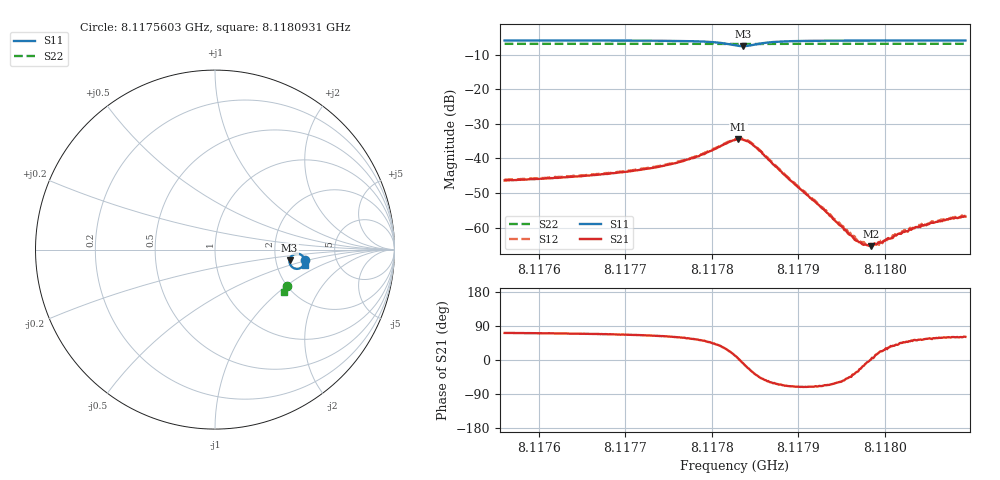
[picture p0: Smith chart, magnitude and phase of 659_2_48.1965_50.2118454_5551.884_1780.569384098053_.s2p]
#  HZ  S  RI  R  50.00
! Rohde & Schwarz Vector Network Analyzer
! Rohde-Schwarz,ZNB20-2Port,1311601062101988,3.16
! Created: UTC 3/20/2024, 12:05:39 PM
! freq[Hz]  re:S11  im:S11  re:S21  im:S21  re:S12  im:S12  re:S22  im:S22
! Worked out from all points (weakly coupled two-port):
!   401 points, 8.1175603 GHz to 8.1180931 GHz, reference 50 ohm
!   highest |S21| = -34.42 dB at 8.1178307 GHz (marker M1); lowest = -65.3 dB at 8.1179839 GHz (marker M2)
!   lowest |S11| = -7.5 dB at 8.117836 GHz (marker M3), VSWR 2.44, Z = 119 - j17 ohm
!   |S11| at or under -10 dB: nowhere
!   |S22| runs from -6.9 to -6.9 dB; largest |S21 - S12| = 0.00072
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8.11756026e9  0.5032 -0.0598  0.00153 0.00456  0.00157 0.00464  0.4037 -0.2053
8.11764952e9  0.5009 -0.0702  0.00197 0.00518  0.00205 0.00536  0.4008 -0.2112
8.11769614e9  0.4988 -0.0768  0.00245 0.00582  0.0025 0.00594  0.3993 -0.2141
8.11773877e9  0.4947 -0.0854  0.00341 0.00681  0.00346 0.00694  0.3977 -0.2169
8.1177814e9  0.483 -0.0987  0.00612 0.00849  0.00627 0.00867  0.3958 -0.2198
8.11781204e9  0.451 -0.1068  0.0129 0.00866  0.0132 0.00881  0.3935 -0.2217
8.1178267e9  0.422 -0.0883  0.0181 0.00376  0.0185 0.0039  0.3921 -0.2214
8.11783069e9  0.4164 -0.0768  0.019 0.00107  0.0194 0.00121  0.3919 -0.2212
8.11783602e9  0.4153 -0.0586  0.0185 -0.00276  0.019 -0.00275  0.3919 -0.2206
8.11784401e9  0.4275 -0.0347  0.0152 -0.00743  0.0157 -0.00769  0.3924 -0.2204
8.11785467e9  0.4538 -0.0227  0.00921 -0.00923  0.00963 -0.00948  0.3934 -0.2207
8.11788398e9  0.4899 -0.0377  0.00219 -0.00532  0.00229 -0.00548  0.3939 -0.2234
8.11791595e9  0.4981 -0.0529  0.00085 -0.00239  0.000886 -0.00248  0.393 -0.2261
8.11796924e9  0.5006 -0.0665  0.00055 -0.000313  0.000546 -0.000339  0.3912 -0.2299
8.1179799e9  0.5007 -0.0684  0.000553 -5.27e-05  0.000554 -8.15e-05  0.3909 -0.2306
8.11798389e9  0.5007 -0.0691  0.00054 1.55e-05  0.00058 4.83e-05  0.3907 -0.2308
8.11799988e9  0.5006 -0.0718  0.000573 0.000292  0.000572 0.000308  0.3901 -0.2319
8.11800521e9  0.5007 -0.0725  0.000577 0.00038  0.000584 0.000436  0.3901 -0.2323
8.11802253e9  0.5006 -0.0749  0.000596 0.000628  0.000671 0.00064  0.3894 -0.2334
8.11803585e9  0.5004 -0.0766  0.000627 0.000808  0.00061 0.000773  0.3889 -0.2341
8.11804517e9  0.5002 -0.0778  0.000621 0.000876  0.000664 0.000901  0.3887 -0.2348
8.11809313e9  0.4997 -0.0831  0.000697 0.00127  0.000712 0.0013  0.3869 -0.2378
